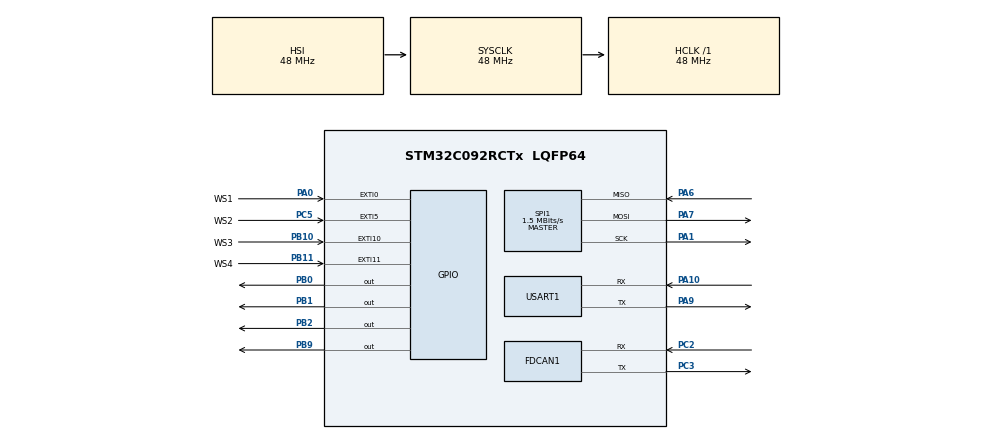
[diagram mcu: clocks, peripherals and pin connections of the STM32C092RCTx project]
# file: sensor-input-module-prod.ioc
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FDCAN1.CalculateBaudRateNominal=1000000
FDCAN1.CalculateTimeBitNominal=1000
FDCAN1.CalculateTimeQuantumNominal=83.33333333333333
FDCAN1.DataSyncJumpWidth=5
FDCAN1.DataTimeSeg1=6
FDCAN1.DataTimeSeg2=5
FDCAN1.NominalPrescaler=1
FDCAN1.NominalSyncJumpWidth=2
FDCAN1.NominalTimeSeg1=9
FDCAN1.NominalTimeSeg2=2
FDCAN1.StdFiltersNbr=0
Mcu.Family=STM32C0
Mcu.Name=STM32C092RCTx
Mcu.Package=LQFP64
NVIC.EXTI4_15_IRQn=true\:0\:0\:false\:false\:true\:false\:true\:true
NVIC.TIM14_IRQn=true\:0\:0\:false\:false\:true\:true\:true\:true
NVIC.TIM15_IRQn=true\:0\:0\:false\:false\:true\:true\:true\:true
NVIC.TIM17_IRQn=true\:0\:0\:false\:false\:true\:true\:true\:true
NVIC.USART1_IRQn=true\:0\:0\:false\:false\:true\:true\:true\:true
PA0.GPIO_Label=WS1
PA0.GPIO_PuPd=GPIO_PULLUP
PA0.Signal=GPXTI0
PA1.Mode=Full_Duplex_Master
PA1.Signal=SPI1_SCK
PA10.Mode=Asynchronous
PA10.Signal=USART1_RX
PA13.GPIO_Label=SWDIO
PA13.Signal=DEBUG_SWDIO
PA14-BOOT0.GPIO_Label=SWCLK
PA14-BOOT0.Signal=DEBUG_SWCLK
PA6.Mode=Full_Duplex_Master
PA6.Signal=SPI1_MISO
PA7.Mode=Full_Duplex_Master
PA7.Signal=SPI1_MOSI
PA8.Signal=S_TIM1_CH1
PA9.Mode=Asynchronous
PA9.Signal=USART1_TX
PB0.Signal=GPIO_Output
PB1.Signal=GPIO_Output
PB10.GPIO_Label=WS3
PB10.GPIO_PuPd=GPIO_PULLUP
PB10.Signal=GPXTI10
PB11.GPIO_Label=WS4
PB11.GPIO_PuPd=GPIO_PULLUP
PB11.Signal=GPXTI11
PB2.Signal=GPIO_Output
PB6.Signal=S_TIM1_CH2
PB9.Signal=GPIO_Output
PC14-OSCX_IN(PC14).GPIO_Label=OSCX_IN
PC14-OSCX_IN(PC14).Signal=RCC_OSCX_IN
PC15-OSCX_OUT(PC15).GPIO_Label=OSCX_OUT
PC15-OSCX_OUT(PC15).Signal=RCC_OSCX_OUT
PC2.Mode=FDCAN_Activate
PC2.Signal=FDCAN1_RX
PC3.Mode=FDCAN_Activate
PC3.Signal=FDCAN1_TX
PC5.GPIO_Label=WS2
PC5.GPIO_PuPd=GPIO_PULLUP
PC5.Signal=GPXTI5
PF0-OSC_IN(PF0).GPIO_Label=OSC_IN
PF0-OSC_IN(PF0).Mode=HSE-External-Oscillator
PF0-OSC_IN(PF0).Signal=RCC_OSC_IN
PF1-OSC_OUT(PF1).GPIO_Label=OSC_OUT
PF1-OSC_OUT(PF1).Mode=HSE-External-Oscillator
PF1-OSC_OUT(PF1).Signal=RCC_OSC_OUT
ProjectManager.HeapSize=0x200
ProjectManager.StackSize=0x400
ProjectManager.TargetToolchain=CMake
RCC.ADCFreq_Value=48000000
RCC.AHBFreq_Value=48000000
RCC.APB1CLKDivider=RCC_APB1_DIV4
RCC.CortexFreq_Value=48000000
RCC.EXTERNAL_CLOCK_VALUE=12288000
RCC.HCLKFreq_Value=48000000
RCC.HSE_VALUE=48000000
RCC.HSIKERCLKDivider=RCC_HSIKER_DIV4
RCC.HSISYSCLKDivider=RCC_HSI_DIV1
RCC.HSI_VALUE=48000000
RCC.LSE_VALUE=32768
RCC.SYSCLKFreq_VALUE=48000000
SH.S_TIM1_CH1.0=TIM1_CH1
SH.S_TIM1_CH2.0=TIM1_CH2
SPI1.BaudRatePrescaler=SPI_BAUDRATEPRESCALER_32
SPI1.CalculateBaudRate=1.5 MBits/s
SPI1.DataSize=SPI_DATASIZE_8BIT
SPI1.Direction=SPI_DIRECTION_2LINES
SPI1.Mode=SPI_MODE_MASTER
SPI1.VirtualType=VM_MASTER
TIM14.Prescaler=4
TIM15.Prescaler=40
TIM17.Period=49999
TIM17.Prescaler=11
USART1.VirtualMode-Asynchronous=VM_ASYNC
VP_IWDG_VS_IWDG.Mode=IWDG_Activate
VP_TIM14_VS_ClockSourceINT.Mode=Enable_Timer
VP_TIM15_VS_ClockSourceINT.Mode=Internal
VP_TIM17_VS_ClockSourceINT.Mode=Enable_Timer
board=NUCLEO-C092RC

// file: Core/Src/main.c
/* USER CODE BEGIN Header */
/**
  ******************************************************************************
  * @file           : main.c
  * @brief          : Main program body
  ******************************************************************************
  * @attention
  *
  * Copyright (c) 2026 STMicroelectronics.
  * All rights reserved.
  *
  * This software is licensed under terms that can be found in the LICENSE file
  * in the root directory of this software component.
  * If no LICENSE file comes with this software, it is provided AS-IS.
  *
  ******************************************************************************
  */
/* USER CODE END Header */
#include "main.h"

/* USER CODE BEGIN Includes */
#include "stm32-mcp320x-reader/mcp320x.h"
#include "stm32c0xx_hal_gpio.h"
#include <string.h>
/* USER CODE END Includes */

FDCAN_HandleTypeDef hfdcan1;

IWDG_HandleTypeDef hiwdg;

SPI_HandleTypeDef hspi1;

TIM_HandleTypeDef htim14;
TIM_HandleTypeDef htim15;
TIM_HandleTypeDef htim17;

UART_HandleTypeDef huart1;

void SystemClock_Config(void);
static void MX_GPIO_Init(void);
static void MX_FDCAN1_Init(void);
static void MX_SPI1_Init(void);
static void MX_USART1_UART_Init(void);
static void MX_TIM14_Init(void);
static void MX_TIM15_Init(void);
static void MX_IWDG_Init(void);
static void MX_TIM17_Init(void);

/* USER CODE BEGIN 0 */

void customprint(char * toprint) {
  HAL_UART_Transmit(&huart1, toprint, strlen(toprint), 100);
}

volatile uint8_t sendcan = 0;
volatile uint8_t toggleled = 0;
volatile uint8_t fastcan = 0;

void HAL_TIM_PeriodElapsedCallback(TIM_HandleTypeDef *htim) {
  if (htim->Instance == TIM14) {
    sendcan = 1;
  }
  if (htim->Instance == TIM15) {
    toggleled = 1;
  }
  if (htim->Instance == TIM17) {
    fastcan = 1;
  }
}

void add_message_to_queue(FDCAN_TxHeaderTypeDef * header, uint8_t * datatosend) {
  while (HAL_FDCAN_GetTxFifoFreeLevel(&hfdcan1) == 0) {
    continue;
  }

  uint32_t errormessage = HAL_FDCAN_AddMessageToTxFifoQ(&hfdcan1, header, (const uint8_t *)datatosend);
  if (errormessage != HAL_OK) {
    char buffer[40] = {0};
    sprintf(buffer, "message send fail, error code %lu", errormessage);
    customprint(buffer);
  }
}

uint8_t onebyte;
volatile uint8_t gotcommand = 0;
volatile int fulllen = 40;
char intbuffer[40] = {0};

void HAL_UART_RxCpltCallback(UART_HandleTypeDef *huart)
{
  intbuffer[40 - fulllen] = onebyte;
  if (onebyte == '!') {
    intbuffer[40 - fulllen] = '\0';
    gotcommand = 1;
    return;
  } else {
    fulllen--;
  }

  HAL_UART_Receive_IT(&huart1, &onebyte, 1);
}

char buffer[40] = {0};

int getcommand(uint8_t * buffer, int maxlen) {
  memset(buffer, 0, maxlen);
  uint8_t singlebyte = 0;
  while (maxlen) {
    HAL_UART_Receive(&huart1, &singlebyte, 1, 0xFFFF);
    buffer[40 - maxlen] = singlebyte;

    if (singlebyte == '!') {
      buffer[40 - maxlen] = '\0';
      break;
    }

    maxlen--;
  }

  return maxlen;
}

typedef struct {
  volatile float speed;
  volatile uint32_t delta;
  volatile uint32_t lastDelta;
  volatile uint32_t midDelta;
  volatile uint32_t lastTick;
  volatile uint8_t flag;
} Wheelspeed;

Wheelspeed wheel1;
Wheelspeed wheel2;
Wheelspeed wheel3;
Wheelspeed wheel4;
uint8_t wsData[8];
float milesPerNotch = 1.397222f / 12.0f / 5280.0f;

// This is the global callback function that handles ALL EXTI interrupts
void HAL_GPIO_EXTI_Rising_Callback(uint16_t GPIO_Pin) {
    if (GPIO_Pin == WS1_Pin) {
        wheel1.flag = 1;
    }
    if (GPIO_Pin == WS2_Pin) {
        wheel2.flag = 1;
    }
    if (GPIO_Pin == WS3_Pin) {
        wheel3.flag = 1;
    }
    if (GPIO_Pin == WS4_Pin) {
        wheel4.flag = 1;
    }
}

// Gets delta between last notch scene, and averages between the last three deltas.
void getWheelSpeed(Wheelspeed * wheel) {
  //wheel->lastDelta = wheel->midDelta;
  //wheel->midDelta = wheel->delta;

  uint32_t currentTick = HAL_GetTick();
  wheel->delta = currentTick - wheel->lastTick;
  wheel->lastTick = currentTick;
  /*
  float average = (wheel->lastDelta + wheel->midDelta + wheel->delta) / 3.0f;
  if (average == 0) {
    return;
  }
  */
  //float averageInSeconds = average / 1000.0f;
  wheel->speed = ((milesPerNotch / (wheel->delta / 1000.0f)) * 3600.0f);
}

/* USER CODE END 0 */

int main(void)
{

  /* MCU Configuration--------------------------------------------------------*/

  /* Reset of all peripherals, Initializes the Flash interface and the Systick. */
  HAL_Init();

  /* Configure the system clock */
  SystemClock_Config();

  /* Initialize all configured peripherals */
  MX_GPIO_Init();
  MX_FDCAN1_Init();
  MX_SPI1_Init();
  MX_USART1_UART_Init();
  MX_TIM14_Init();
  MX_TIM15_Init();
  MX_IWDG_Init();
  MX_TIM17_Init();

  /* Infinite loop */
  /* USER CODE BEGIN WHILE */

  FDCAN_TxHeaderTypeDef txheader1;
  FDCAN_TxHeaderTypeDef txheader2;
  FDCAN_TxHeaderTypeDef txheader3;
  FDCAN_TxHeaderTypeDef txheader4;
  FDCAN_TxHeaderTypeDef txheader5;
  FDCAN_TxHeaderTypeDef txheader6;
  FDCAN_TxHeaderTypeDef txheader7;
  FDCAN_TxHeaderTypeDef txheader8;

  FDCAN_FilterTypeDef canfilter;

  txheader1.Identifier = 210;
  txheader1.IdType = FDCAN_STANDARD_ID;
  txheader1.TxFrameType = FDCAN_DATA_FRAME;
  txheader1.DataLength = FDCAN_DLC_BYTES_8;
  txheader1.ErrorStateIndicator = FDCAN_ESI_ACTIVE;
  txheader1.BitRateSwitch = FDCAN_BRS_OFF;
  txheader1.FDFormat = FDCAN_CLASSIC_CAN;
  txheader1.MessageMarker = 0;

  txheader2.Identifier = 211;
  txheader2.IdType = FDCAN_STANDARD_ID;
  txheader2.TxFrameType = FDCAN_DATA_FRAME;
  txheader2.DataLength = FDCAN_DLC_BYTES_8;
  txheader2.ErrorStateIndicator = FDCAN_ESI_ACTIVE;
  txheader2.BitRateSwitch = FDCAN_BRS_OFF;
  txheader2.FDFormat = FDCAN_CLASSIC_CAN;
  txheader2.MessageMarker = 0;

  txheader3.Identifier = 212;
  txheader3.IdType = FDCAN_STANDARD_ID;
  txheader3.TxFrameType = FDCAN_DATA_FRAME;
  txheader3.DataLength = FDCAN_DLC_BYTES_8;
  txheader3.ErrorStateIndicator = FDCAN_ESI_ACTIVE;
  txheader3.BitRateSwitch = FDCAN_BRS_OFF;
  txheader3.FDFormat = FDCAN_CLASSIC_CAN;
  txheader3.MessageMarker = 0;

  txheader4.Identifier = 213;
  txheader4.IdType = FDCAN_STANDARD_ID;
  txheader4.TxFrameType = FDCAN_DATA_FRAME;
  txheader4.DataLength = FDCAN_DLC_BYTES_8;
  txheader4.ErrorStateIndicator = FDCAN_ESI_ACTIVE;
  txheader4.BitRateSwitch = FDCAN_BRS_OFF;
  txheader4.FDFormat = FDCAN_CLASSIC_CAN;
  txheader4.MessageMarker = 0;

  txheader5.Identifier = 214;
  txheader5.IdType = FDCAN_STANDARD_ID;
  txheader5.TxFrameType = FDCAN_DATA_FRAME;
  txheader5.DataLength = FDCAN_DLC_BYTES_8;
  txheader5.ErrorStateIndicator = FDCAN_ESI_ACTIVE;
  txheader5.BitRateSwitch = FDCAN_BRS_OFF;
  txheader5.FDFormat = FDCAN_CLASSIC_CAN;
  txheader5.MessageMarker = 0;

  txheader6.Identifier = 215;
  txheader6.IdType = FDCAN_STANDARD_ID;
  txheader6.TxFrameType = FDCAN_DATA_FRAME;
  txheader6.DataLength = FDCAN_DLC_BYTES_8;
  txheader6.ErrorStateIndicator = FDCAN_ESI_ACTIVE;
  txheader6.BitRateSwitch = FDCAN_BRS_OFF;
  txheader6.FDFormat = FDCAN_CLASSIC_CAN;
  txheader6.MessageMarker = 0;

  uint8_t dataforshift [8] = {2, 2, 2, 2, 2, 2, 2, 2};
  txheader7.Identifier = 10;
  txheader7.IdType = FDCAN_STANDARD_ID;
  txheader7.TxFrameType = FDCAN_DATA_FRAME;
  txheader7.DataLength = FDCAN_DLC_BYTES_8;
  txheader7.ErrorStateIndicator = FDCAN_ESI_ACTIVE;
  txheader7.BitRateSwitch = FDCAN_BRS_OFF;
  txheader7.FDFormat = FDCAN_CLASSIC_CAN;
  txheader7.MessageMarker = 0;

  txheader8.Identifier = 190;
  txheader8.IdType = FDCAN_STANDARD_ID;
  txheader8.TxFrameType = FDCAN_DATA_FRAME;
  txheader8.DataLength = FDCAN_DLC_BYTES_8;
  txheader8.ErrorStateIndicator = FDCAN_ESI_ACTIVE;
  txheader8.BitRateSwitch = FDCAN_BRS_OFF;
  txheader8.FDFormat = FDCAN_CLASSIC_CAN;
  txheader8.MessageMarker = 0;

  canfilter.IdType = FDCAN_STANDARD_ID;
  canfilter.FilterIndex = 0;
  canfilter.FilterType = FDCAN_FILTER_MASK;
  canfilter.FilterConfig = FDCAN_FILTER_TO_RXFIFO0;
  canfilter.FilterID1 = 0x000;
  canfilter.FilterID2 = 0x000;

  //HAL_UART_Receive_IT(&huart1, &onebyte, 1)

  HAL_FDCAN_ConfigFilter(&hfdcan1, &canfilter);

  HAL_FDCAN_Start(&hfdcan1);

  HAL_FDCAN_ActivateNotification(&hfdcan1, FDCAN_IT_RX_FIFO0_NEW_MESSAGE, 0);

  HAL_TIM_Base_Start_IT(&htim14);
  HAL_TIM_Base_Start_IT(&htim15);
  HAL_TIM_Base_Start_IT(&htim17);

  MCP320X adc8to15 = {
    &hspi1,
    GPIOB,
    GPIO_PIN_0,
    MCP3208
  };

  MCP320X adc0to7 = {
    &hspi1,
    GPIOB,
    GPIO_PIN_1,
    MCP3208
  };

  MCP320X adc16to23 = {
    &hspi1,
    GPIOB,
    GPIO_PIN_2,
    MCP3208
  };

  resetADC(&adc8to15);
  resetADC(&adc0to7);
  resetADC(&adc16to23);
  uint16_t adcdata8to15[8];
  uint16_t adcdata0to7[8];
  uint16_t adcdata16to23[8];

  while (1)
  {

    if (toggleled) {
      toggleled = 0;
      HAL_GPIO_TogglePin(GPIOB, GPIO_PIN_9);
    }

    if (sendcan) {
      sendcan = 0;

      HAL_IWDG_Refresh(&hiwdg);

      read_all(&adc8to15, adcdata8to15);
      add_message_to_queue(&txheader1, (uint8_t *)adcdata8to15);
      add_message_to_queue(&txheader2, (uint8_t *)(adcdata8to15 + 4));

      read_all(&adc16to23, adcdata16to23);
      add_message_to_queue(&txheader3, (uint8_t *)adcdata16to23);
      add_message_to_queue(&txheader4, (uint8_t *)(adcdata16to23 + 4));

      read_all(&adc0to7, adcdata0to7);
      add_message_to_queue(&txheader6, (uint8_t *)(adcdata0to7+ 4));
      add_message_to_queue(&txheader5, (uint8_t *)adcdata0to7);

      customprint("sent all sensors\n");
    }

    if (fastcan) {
      fastcan = 0;
      add_message_to_queue(&txheader8, (uint8_t *)wsData);
    }

    if (wheel1.flag) {
      getWheelSpeed(&wheel1);
      wsData[0] = (uint8_t) wheel1.speed;
      wsData[1] = (uint8_t)((wheel1.speed - (uint8_t)wheel1.speed) * 100);
      wheel1.flag = 0;
    }
    if (wheel2.flag) {
      getWheelSpeed(&wheel2);
      wsData[2] = (uint8_t) wheel2.speed;
      wsData[3] = (uint8_t)((wheel2.speed - (uint8_t)wheel2.speed) * 100);
      wheel2.flag = 0;
    }
    HAL_IWDG_Refresh(&hiwdg);
    if (wheel3.flag) {
      getWheelSpeed(&wheel3);
      wsData[4] = (uint8_t) wheel3.speed;
      wsData[5] = (uint8_t)((wheel3.speed - (uint8_t)wheel3.speed) * 100);

      wheel3.flag = 0;
    }
    if (wheel4.flag) {
      getWheelSpeed(&wheel4);
      wsData[6] = (uint8_t) wheel4.speed;
      wsData[7] = (uint8_t)((wheel4.speed - (uint8_t)wheel4.speed) * 100);

      wheel4.flag = 0;
    }
    //sprintf(wheelspeedData, "W1: %dlu, W2%lu, W3: %lu, W4: %lu\n", wheel1.delta, wheel2.delta, wheel3.delta, wheel4.delta);
    //HAL_UART_Transmit(&huart1, wheelspeedData, strlen(wheelspeedData), 100);

      /*
      char finalbuffer[600] = {0};
      sprintf(finalbuffer, "%u, %u, %u, %u, %u, %u, %u, %u\n", adcdata8to15[0], adcdata8to15[1], adcdata8to15[2], adcdata8to15[3], adcdata8to15[4], adcdata8to15[5], adcdata8to15[6], adcdata8to15[7]);
      HAL_UART_Transmit(&huart1, finalbuffer, strlen(finalbuffer), 100);
      */

    /* USER CODE END WHILE */

  }
}

void SystemClock_Config(void)
{
  RCC_OscInitTypeDef RCC_OscInitStruct = {0};
  RCC_ClkInitTypeDef RCC_ClkInitStruct = {0};

  __HAL_FLASH_SET_LATENCY(FLASH_LATENCY_1);

  /** Initializes the RCC Oscillators according to the specified parameters
  * in the RCC_OscInitTypeDef structure.
  */
  RCC_OscInitStruct.OscillatorType = RCC_OSCILLATORTYPE_HSI|RCC_OSCILLATORTYPE_LSI;
  RCC_OscInitStruct.HSIState = RCC_HSI_ON;
  RCC_OscInitStruct.HSIDiv = RCC_HSI_DIV1;
  RCC_OscInitStruct.HSICalibrationValue = RCC_HSICALIBRATION_DEFAULT;
  RCC_OscInitStruct.LSIState = RCC_LSI_ON;
  if (HAL_RCC_OscConfig(&RCC_OscInitStruct) != HAL_OK)
  {
    Error_Handler();
  }

  /** Initializes the CPU, AHB and APB buses clocks
  */
  RCC_ClkInitStruct.ClockType = RCC_CLOCKTYPE_HCLK|RCC_CLOCKTYPE_SYSCLK
                              |RCC_CLOCKTYPE_PCLK1;
  RCC_ClkInitStruct.SYSCLKSource = RCC_SYSCLKSOURCE_HSI;
  RCC_ClkInitStruct.SYSCLKDivider = RCC_SYSCLK_DIV1;
  RCC_ClkInitStruct.AHBCLKDivider = RCC_HCLK_DIV1;
  RCC_ClkInitStruct.APB1CLKDivider = RCC_APB1_DIV4;

  if (HAL_RCC_ClockConfig(&RCC_ClkInitStruct, FLASH_LATENCY_1) != HAL_OK)
  {
    Error_Handler();
  }
}

static void MX_FDCAN1_Init(void)
{

  hfdcan1.Instance = FDCAN1;
  hfdcan1.Init.ClockDivider = FDCAN_CLOCK_DIV1;
  hfdcan1.Init.FrameFormat = FDCAN_FRAME_CLASSIC;
  hfdcan1.Init.Mode = FDCAN_MODE_NORMAL;
  hfdcan1.Init.AutoRetransmission = DISABLE;
  hfdcan1.Init.TransmitPause = DISABLE;
  hfdcan1.Init.ProtocolException = DISABLE;
  hfdcan1.Init.NominalPrescaler = 1;
  hfdcan1.Init.NominalSyncJumpWidth = 2;
  hfdcan1.Init.NominalTimeSeg1 = 9;
  hfdcan1.Init.NominalTimeSeg2 = 2;
  hfdcan1.Init.DataPrescaler = 1;
  hfdcan1.Init.DataSyncJumpWidth = 5;
  hfdcan1.Init.DataTimeSeg1 = 6;
  hfdcan1.Init.DataTimeSeg2 = 5;
  hfdcan1.Init.StdFiltersNbr = 0;
  hfdcan1.Init.ExtFiltersNbr = 0;
  hfdcan1.Init.TxFifoQueueMode = FDCAN_TX_FIFO_OPERATION;
  if (HAL_FDCAN_Init(&hfdcan1) != HAL_OK)
  {
    Error_Handler();
  }

}

static void MX_IWDG_Init(void)
{

  hiwdg.Instance = IWDG;
  hiwdg.Init.Prescaler = IWDG_PRESCALER_4;
  hiwdg.Init.Window = 4095;
  hiwdg.Init.Reload = 4095;
  if (HAL_IWDG_Init(&hiwdg) != HAL_OK)
  {
    Error_Handler();
  }

}

static void MX_SPI1_Init(void)
{

  /* SPI1 parameter configuration*/
  hspi1.Instance = SPI1;
  hspi1.Init.Mode = SPI_MODE_MASTER;
  hspi1.Init.Direction = SPI_DIRECTION_2LINES;
  hspi1.Init.DataSize = SPI_DATASIZE_8BIT;
  hspi1.Init.CLKPolarity = SPI_POLARITY_LOW;
  hspi1.Init.CLKPhase = SPI_PHASE_1EDGE;
  hspi1.Init.NSS = SPI_NSS_SOFT;
  hspi1.Init.BaudRatePrescaler = SPI_BAUDRATEPRESCALER_32;
  hspi1.Init.FirstBit = SPI_FIRSTBIT_MSB;
  hspi1.Init.TIMode = SPI_TIMODE_DISABLE;
  hspi1.Init.CRCCalculation = SPI_CRCCALCULATION_DISABLE;
  hspi1.Init.CRCPolynomial = 7;
  hspi1.Init.CRCLength = SPI_CRC_LENGTH_DATASIZE;
  hspi1.Init.NSSPMode = SPI_NSS_PULSE_ENABLE;
  if (HAL_SPI_Init(&hspi1) != HAL_OK)
  {
    Error_Handler();
  }

}

static void MX_TIM14_Init(void)
{

  htim14.Instance = TIM14;
  htim14.Init.Prescaler = 4;
  htim14.Init.CounterMode = TIM_COUNTERMODE_UP;
  htim14.Init.Period = 65535;
  htim14.Init.ClockDivision = TIM_CLOCKDIVISION_DIV1;
  htim14.Init.AutoReloadPreload = TIM_AUTORELOAD_PRELOAD_DISABLE;
  if (HAL_TIM_Base_Init(&htim14) != HAL_OK)
  {
    Error_Handler();
  }

}

static void MX_TIM15_Init(void)
{

  TIM_ClockConfigTypeDef sClockSourceConfig = {0};
  TIM_MasterConfigTypeDef sMasterConfig = {0};

  htim15.Instance = TIM15;
  htim15.Init.Prescaler = 40;
  htim15.Init.CounterMode = TIM_COUNTERMODE_UP;
  htim15.Init.Period = 65535;
  htim15.Init.ClockDivision = TIM_CLOCKDIVISION_DIV1;
  htim15.Init.RepetitionCounter = 0;
  htim15.Init.AutoReloadPreload = TIM_AUTORELOAD_PRELOAD_DISABLE;
  if (HAL_TIM_Base_Init(&htim15) != HAL_OK)
  {
    Error_Handler();
  }
  sClockSourceConfig.ClockSource = TIM_CLOCKSOURCE_INTERNAL;
  if (HAL_TIM_ConfigClockSource(&htim15, &sClockSourceConfig) != HAL_OK)
  {
    Error_Handler();
  }
  sMasterConfig.MasterOutputTrigger = TIM_TRGO_RESET;
  sMasterConfig.MasterSlaveMode = TIM_MASTERSLAVEMODE_DISABLE;
  if (HAL_TIMEx_MasterConfigSynchronization(&htim15, &sMasterConfig) != HAL_OK)
  {
    Error_Handler();
  }

}

static void MX_TIM17_Init(void)
{

  htim17.Instance = TIM17;
  htim17.Init.Prescaler = 11;
  htim17.Init.CounterMode = TIM_COUNTERMODE_UP;
  htim17.Init.Period = 49999;
  htim17.Init.ClockDivision = TIM_CLOCKDIVISION_DIV1;
  htim17.Init.RepetitionCounter = 0;
  htim17.Init.AutoReloadPreload = TIM_AUTORELOAD_PRELOAD_DISABLE;
  if (HAL_TIM_Base_Init(&htim17) != HAL_OK)
  {
    Error_Handler();
  }

}

static void MX_USART1_UART_Init(void)
{

  huart1.Instance = USART1;
  huart1.Init.BaudRate = 115200;
  huart1.Init.WordLength = UART_WORDLENGTH_8B;
  huart1.Init.StopBits = UART_STOPBITS_1;
  huart1.Init.Parity = UART_PARITY_NONE;
  huart1.Init.Mode = UART_MODE_TX_RX;
  huart1.Init.HwFlowCtl = UART_HWCONTROL_NONE;
  huart1.Init.OverSampling = UART_OVERSAMPLING_16;
  huart1.Init.OneBitSampling = UART_ONE_BIT_SAMPLE_DISABLE;
  huart1.Init.ClockPrescaler = UART_PRESCALER_DIV1;
  huart1.AdvancedInit.AdvFeatureInit = UART_ADVFEATURE_NO_INIT;
  if (HAL_UART_Init(&huart1) != HAL_OK)
  {
    Error_Handler();
  }
  if (HAL_UARTEx_SetTxFifoThreshold(&huart1, UART_TXFIFO_THRESHOLD_1_8) != HAL_OK)
  {
    Error_Handler();
  }
  if (HAL_UARTEx_SetRxFifoThreshold(&huart1, UART_RXFIFO_THRESHOLD_1_8) != HAL_OK)
  {
    Error_Handler();
  }
  if (HAL_UARTEx_DisableFifoMode(&huart1) != HAL_OK)
  {
    Error_Handler();
  }

}

static void MX_GPIO_Init(void)
{
  GPIO_InitTypeDef GPIO_InitStruct = {0};

  /* GPIO Ports Clock Enable */
  __HAL_RCC_GPIOC_CLK_ENABLE();
  __HAL_RCC_GPIOF_CLK_ENABLE();
  __HAL_RCC_GPIOA_CLK_ENABLE();
  __HAL_RCC_GPIOB_CLK_ENABLE();

  /*Configure GPIO pin Output Level */
  HAL_GPIO_WritePin(GPIOB, GPIO_PIN_0|GPIO_PIN_1|GPIO_PIN_2|GPIO_PIN_9, GPIO_PIN_RESET);

  /*Configure GPIO pin : WS1_Pin */
  GPIO_InitStruct.Pin = WS1_Pin;
  GPIO_InitStruct.Mode = GPIO_MODE_IT_RISING;
  GPIO_InitStruct.Pull = GPIO_PULLUP;
  HAL_GPIO_Init(WS1_GPIO_Port, &GPIO_InitStruct);

  /*Configure GPIO pin : WS2_Pin */
  GPIO_InitStruct.Pin = WS2_Pin;
  GPIO_InitStruct.Mode = GPIO_MODE_IT_RISING;
  GPIO_InitStruct.Pull = GPIO_PULLUP;
  HAL_GPIO_Init(WS2_GPIO_Port, &GPIO_InitStruct);

  /*Configure GPIO pins : PB0 PB1 PB2 PB9 */
  GPIO_InitStruct.Pin = GPIO_PIN_0|GPIO_PIN_1|GPIO_PIN_2|GPIO_PIN_9;
  GPIO_InitStruct.Mode = GPIO_MODE_OUTPUT_PP;
  GPIO_InitStruct.Pull = GPIO_NOPULL;
  GPIO_InitStruct.Speed = GPIO_SPEED_FREQ_LOW;
  HAL_GPIO_Init(GPIOB, &GPIO_InitStruct);

  /*Configure GPIO pins : WS3_Pin WS4_Pin */
  GPIO_InitStruct.Pin = WS3_Pin|WS4_Pin;
  GPIO_InitStruct.Mode = GPIO_MODE_IT_RISING;
  GPIO_InitStruct.Pull = GPIO_PULLUP;
  HAL_GPIO_Init(GPIOB, &GPIO_InitStruct);

  /*Configure GPIO pin : PA8 */
  GPIO_InitStruct.Pin = GPIO_PIN_8;
  GPIO_InitStruct.Mode = GPIO_MODE_AF_PP;
  GPIO_InitStruct.Pull = GPIO_NOPULL;
  GPIO_InitStruct.Speed = GPIO_SPEED_FREQ_LOW;
  GPIO_InitStruct.Alternate = GPIO_AF2_TIM1;
  HAL_GPIO_Init(GPIOA, &GPIO_InitStruct);

  /*Configure GPIO pin : PB6 */
  GPIO_InitStruct.Pin = GPIO_PIN_6;
  GPIO_InitStruct.Mode = GPIO_MODE_AF_PP;
  GPIO_InitStruct.Pull = GPIO_NOPULL;
  GPIO_InitStruct.Speed = GPIO_SPEED_FREQ_LOW;
  GPIO_InitStruct.Alternate = GPIO_AF11_TIM1;
  HAL_GPIO_Init(GPIOB, &GPIO_InitStruct);

  /* EXTI interrupt init*/
  HAL_NVIC_SetPriority(EXTI4_15_IRQn, 0, 0);
  HAL_NVIC_EnableIRQ(EXTI4_15_IRQn);

}

void Error_Handler(void)
{
  __disable_irq();
  while (1)
  {
  }
}
